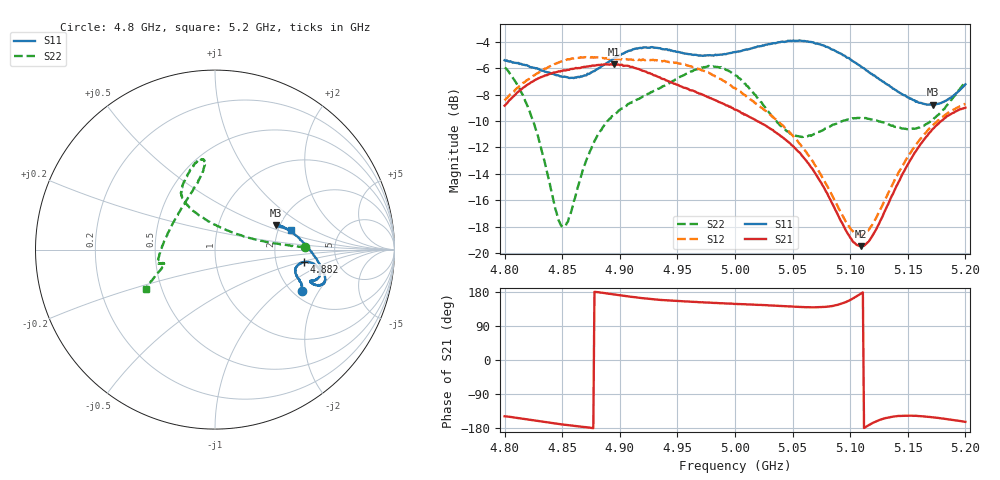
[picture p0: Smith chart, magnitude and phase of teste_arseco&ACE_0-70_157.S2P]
! Network Analyzer HP8722D
! Hewlett-Packard
! Data name: Linha & Wilkinson
! Saver's name: Rodrigo Anjos
! Comments: Teste da utilização de aquisição
! continua pelo VNA HP8722D
! Time and date: 8/5/2025 14:04
!  Frequency  S11  S21  S12  S22
# HZ  S  MA R 50
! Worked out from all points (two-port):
!   401 points, 4.8 GHz to 5.2 GHz, reference 50 ohm
!   highest |S21| = -5.69 dB at 4.895 GHz (marker M1); lowest = -19.5 dB at 5.109 GHz (marker M2)
!   |S21| within 3 dB of the highest: 4.802 GHz to 4.99 GHz (188.1 MHz wide, 3.84 % of centre)
!   lowest |S11| = -8.8 dB at 5.172 GHz (marker M3), VSWR 2.15, Z = 95 + j29.7 ohm
!   |S11| at or under -10 dB: nowhere
!   |S22| runs from -18.0 to -5.8 dB; largest |S21 - S12| = 1.1
!   S11 on the Smith chart (normalised r, x): 4.8 GHz: 2.24, -1.45; 4.882 GHz: 2.91, -0.53; 5.2 GHz: 2.33, +0.64
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4.8e9  0.537 -25.3  0.3614 -148.5  0.3784 11.0  0.503 1.6
4.812e9  0.5246 -22.3  0.4087 -153.3  0.4247 9.1  0.4262 2.7
4.824e9  0.5042 -20.4  0.4451 -158.7  0.4652 7.5  0.3221 6.4
4.849e9  0.4663 -16.1  0.4893 -169.5  0.5309 3.3  0.1269 57.0
4.855e9  0.4621 -14.4  0.494 -171.9  0.5422 2.6  0.1314 84.5
4.867e9  0.4657 -11.3  0.5052 -176.2  0.5501 1.0  0.1996 112.9
4.882e9  0.5023 -7.8  0.5157 178.3  0.5502 -0.3  0.284 121.4
4.895e9  0.547 -7.8  0.5193 173.1  0.5428 -0.4  0.3324 122.3
4.913e9  0.5936 -10.8  0.5022 165.8  0.5412 -0.0  0.3777 119.6
4.934e9  0.5969 -15.4  0.4633 158.9  0.5374 -1.1  0.419 113.7
4.975e9  0.56 -18.5  0.3925 151.6  0.4867 -4.7  0.5074 99.8
5e9  0.5767 -19.3  0.3492 148.1  0.4217 -4.7  0.4716 97.1
5.018e9  0.6013 -19.2  0.3182 146.0  0.3683 -2.2  0.3956 103.7
5.046e9  0.6368 -17.2  0.2639 141.5  0.2911 3.8  0.2884 134.0
5.067e9  0.6285 -13.3  0.2089 139.0  0.224 9.6  0.2797 164.3
5.098e9  0.5485 -2.9  0.1181 155.6  0.1279 36.4  0.3205 -170.3
5.109e9  0.5102 2.2  0.1061 174.7  0.1167 57.8  0.3239 -167.1
5.119e9  0.4762 7.3  0.1156 -167.1  0.1276 77.4  0.3204 -166.0
5.134e9  0.4305 14.4  0.1569 -151.0  0.172 94.7  0.3063 -165.5
5.154e9  0.3808 20.7  0.2318 -147.2  0.2463 101.9  0.2958 -164.1
5.172e9  0.3644 21.8  0.2955 -151.3  0.3057 103.0  0.3193 -159.9
5.2e9  0.4354 14.8  0.3551 -163.2  0.3677 103.4  0.4453 -150.4
